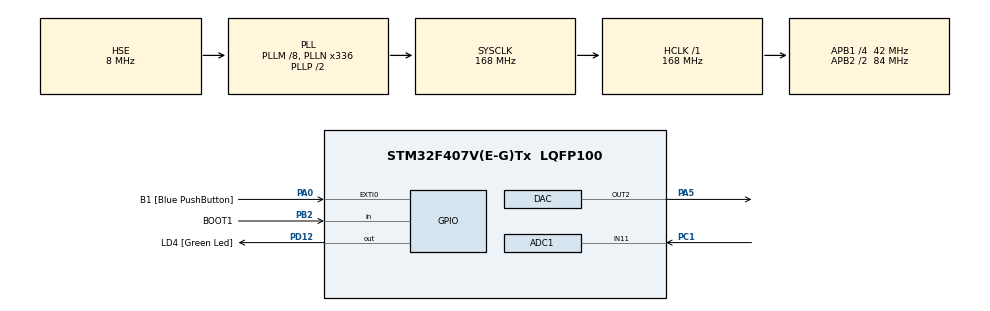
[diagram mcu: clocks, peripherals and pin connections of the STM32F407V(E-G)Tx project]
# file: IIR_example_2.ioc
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ADC1.Channel-0\#ChannelRegularConversion=ADC_CHANNEL_11
ADC1.DMAContinuousRequests=ENABLE
ADC1.ExternalTrigConv=ADC_EXTERNALTRIGCONV_T3_TRGO
ADC1.NbrOfConversionFlag=1
ADC1.Rank-0\#ChannelRegularConversion=1
ADC1.SamplingTime-0\#ChannelRegularConversion=ADC_SAMPLETIME_3CYCLES
ADC1.master=1
Dma.ADC1.0.Direction=DMA_PERIPH_TO_MEMORY
Dma.ADC1.0.FIFOMode=DMA_FIFOMODE_DISABLE
Dma.ADC1.0.Instance=DMA2_Stream0
Dma.ADC1.0.MemDataAlignment=DMA_MDATAALIGN_HALFWORD
Dma.ADC1.0.MemInc=DMA_MINC_ENABLE
Dma.ADC1.0.Mode=DMA_CIRCULAR
Dma.ADC1.0.PeriphDataAlignment=DMA_PDATAALIGN_HALFWORD
Dma.ADC1.0.PeriphInc=DMA_PINC_DISABLE
Dma.ADC1.0.Priority=DMA_PRIORITY_LOW
Dma.Request0=ADC1
Mcu.Family=STM32F4
Mcu.Name=STM32F407V(E-G)Tx
Mcu.Package=LQFP100
NVIC.DMA2_Stream0_IRQn=true\:0\:0\:false\:false\:true\:false\:true
NVIC.PriorityGroup=NVIC_PRIORITYGROUP_0
PA0-WKUP.GPIO_Label=B1 [Blue PushButton]
PA0-WKUP.GPIO_ModeDefaultEXTI=GPIO_MODE_EVT_RISING
PA0-WKUP.GPIO_PuPd=GPIO_NOPULL
PA0-WKUP.Signal=GPXTI0
PA13.GPIO_Label=SWDIO
PA13.Mode=Serial_Wire
PA13.Signal=SYS_JTMS-SWDIO
PA14.GPIO_Label=SWCLK
PA14.Mode=Serial_Wire
PA14.Signal=SYS_JTCK-SWCLK
PA5.Signal=COMP_DAC2_group
PB2.GPIO_Label=BOOT1
PB2.GPIO_Mode=GPIO_MODE_INPUT
PB2.GPIO_PuPd=GPIO_NOPULL
PB2.Signal=GPIO_Input
PC1.Signal=ADCx_IN11
PC14-OSC32_IN.GPIO_Label=PC14-OSC32_IN
PC14-OSC32_IN.Mode=LSE-External-Oscillator
PC14-OSC32_IN.Signal=RCC_OSC32_IN
PC15-OSC32_OUT.GPIO_Label=PC15-OSC32_OUT
PC15-OSC32_OUT.Mode=LSE-External-Oscillator
PC15-OSC32_OUT.Signal=RCC_OSC32_OUT
PD12.GPIO_Label=LD4 [Green Led]
PD12.GPIO_PuPd=GPIO_NOPULL
PD12.GPIO_Speed=GPIO_SPEED_FREQ_LOW
PD12.Signal=GPIO_Output
PH0-OSC_IN.GPIO_Label=PH0-OSC_IN
PH0-OSC_IN.Mode=HSE-External-Oscillator
PH0-OSC_IN.Signal=RCC_OSC_IN
PH1-OSC_OUT.GPIO_Label=PH1-OSC_OUT
PH1-OSC_OUT.Mode=HSE-External-Oscillator
PH1-OSC_OUT.Signal=RCC_OSC_OUT
ProjectManager.HeapSize=0x200
ProjectManager.StackSize=0x400
ProjectManager.TargetToolchain=STM32CubeIDE
RCC.48MHZClocksFreq_Value=48000000
RCC.AHBFreq_Value=168000000
RCC.APB1CLKDivider=RCC_HCLK_DIV4
RCC.APB1Freq_Value=42000000
RCC.APB1TimFreq_Value=84000000
RCC.APB2CLKDivider=RCC_HCLK_DIV2
RCC.APB2Freq_Value=84000000
RCC.APB2TimFreq_Value=168000000
RCC.CortexFreq_Value=168000000
RCC.HCLKFreq_Value=168000000
RCC.HSE_VALUE=8000000
RCC.HSI_VALUE=16000000
RCC.PLLM=8
RCC.PLLN=336
RCC.PLLQ=7
RCC.PLLSourceVirtual=RCC_PLLSOURCE_HSE
RCC.SYSCLKFreq_VALUE=168000000
RCC.SYSCLKSource=RCC_SYSCLKSOURCE_PLLCLK
RCC.VCOOutputFreq_Value=336000000
SH.ADCx_IN11.0=ADC1_IN11,IN11
SH.COMP_DAC2_group.0=DAC_OUT2,DAC_OUT2
TIM3.Channel-PWM\ Generation3\ No\ Output=TIM_CHANNEL_3
TIM3.Period=20
TIM3.Prescaler=4
TIM3.TIM_MasterOutputTrigger=TIM_TRGO_UPDATE
VP_TIM2_VS_ClockSourceINT.Mode=Internal
VP_TIM3_VS_ClockSourceINT.Mode=Internal
VP_TIM3_VS_no_output3.Mode=PWM Generation3 No Output
board=STM32F407G-DISC1

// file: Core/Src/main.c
/* USER CODE BEGIN Header */
/**
  ******************************************************************************
  * @file           : main.c
  * @brief          : Main program body
  ******************************************************************************
  * @attention
  *
  * <h2><center>&copy; Copyright (c) 2021 STMicroelectronics.
  * All rights reserved.</center></h2>
  *
  * This software component is licensed by ST under Ultimate Liberty license
  * SLA0044, the "License"; You may not use this file except in compliance with
  * the License. You may obtain a copy of the License at:
  *                             www.st.com/SLA0044
  *
  ******************************************************************************
  */
/* USER CODE END Header */
#include "main.h"
#include "stm32f407xx.h"
#include "arm_math.h"

/* USER CODE BEGIN PD */
#define ADC_BUFF_LEN	1024
#define  DMA_BUFF_LEN	16
#define DC_OFFSET		2048
#define DAC_RANGE		4096
#define NZEROS 4
#define NPOLES 4
#define GAIN   1.273742597e+002f
/* USER CODE END PD */

ADC_HandleTypeDef hadc1;
DMA_HandleTypeDef hdma_adc1;

DAC_HandleTypeDef hdac;

TIM_HandleTypeDef htim2;
TIM_HandleTypeDef htim3;

/* USER CODE BEGIN PV */
uint16_t dma_buff[DMA_BUFF_LEN];
uint16_t adc_data[ADC_BUFF_LEN];
uint16_t adc_data_counter = 0;
float32_t xv[NZEROS+1];
float32_t yv[NPOLES+1];
/* USER CODE END PV */

void SystemClock_Config(void);
static void MX_GPIO_Init(void);
static void MX_DMA_Init(void);
static void MX_ADC1_Init(void);
static void MX_DAC_Init(void);
static void MX_TIM2_Init(void);
static void MX_TIM3_Init(void);
//static void filterloop(void);

int main(void)
{

  /* MCU Configuration--------------------------------------------------------*/

  /* Reset of all peripherals, Initializes the Flash interface and the Systick. */
  HAL_Init();

  /* Configure the system clock */
  SystemClock_Config();

  /* Initialize all configured peripherals */
  MX_GPIO_Init();
  MX_DMA_Init();
  MX_ADC1_Init();
  MX_DAC_Init();
  MX_TIM2_Init();
  MX_TIM3_Init();
  /* USER CODE BEGIN 2 */

  HAL_ADC_Start_DMA(&hadc1, &dma_buff, 16);
  HAL_TIM_Base_Start(&htim3);
  HAL_DAC_Start(&hdac, DAC1_CHANNEL_2);

  /* USER CODE END 2 */

  /* Infinite loop */
  while (1)
  {

  }
}

void SystemClock_Config(void)
{
  RCC_OscInitTypeDef RCC_OscInitStruct = {0};
  RCC_ClkInitTypeDef RCC_ClkInitStruct = {0};

  /** Configure the main internal regulator output voltage
  */
  __HAL_RCC_PWR_CLK_ENABLE();
  __HAL_PWR_VOLTAGESCALING_CONFIG(PWR_REGULATOR_VOLTAGE_SCALE1);
  /** Initializes the RCC Oscillators according to the specified parameters
  * in the RCC_OscInitTypeDef structure.
  */
  RCC_OscInitStruct.OscillatorType = RCC_OSCILLATORTYPE_HSE;
  RCC_OscInitStruct.HSEState = RCC_HSE_ON;
  RCC_OscInitStruct.PLL.PLLState = RCC_PLL_ON;
  RCC_OscInitStruct.PLL.PLLSource = RCC_PLLSOURCE_HSE;
  RCC_OscInitStruct.PLL.PLLM = 8;
  RCC_OscInitStruct.PLL.PLLN = 336;
  RCC_OscInitStruct.PLL.PLLP = RCC_PLLP_DIV2;
  RCC_OscInitStruct.PLL.PLLQ = 7;
  if (HAL_RCC_OscConfig(&RCC_OscInitStruct) != HAL_OK)
  {
    Error_Handler();
  }
  /** Initializes the CPU, AHB and APB buses clocks
  */
  RCC_ClkInitStruct.ClockType = RCC_CLOCKTYPE_HCLK|RCC_CLOCKTYPE_SYSCLK
                              |RCC_CLOCKTYPE_PCLK1|RCC_CLOCKTYPE_PCLK2;
  RCC_ClkInitStruct.SYSCLKSource = RCC_SYSCLKSOURCE_PLLCLK;
  RCC_ClkInitStruct.AHBCLKDivider = RCC_SYSCLK_DIV1;
  RCC_ClkInitStruct.APB1CLKDivider = RCC_HCLK_DIV4;
  RCC_ClkInitStruct.APB2CLKDivider = RCC_HCLK_DIV2;

  if (HAL_RCC_ClockConfig(&RCC_ClkInitStruct, FLASH_LATENCY_5) != HAL_OK)
  {
    Error_Handler();
  }
}

static void MX_ADC1_Init(void)
{

  ADC_ChannelConfTypeDef sConfig = {0};

  /** Configure the global features of the ADC (Clock, Resolution, Data Alignment and number of conversion)
  */
  hadc1.Instance = ADC1;
  hadc1.Init.ClockPrescaler = ADC_CLOCK_SYNC_PCLK_DIV4;
  hadc1.Init.Resolution = ADC_RESOLUTION_12B;
  hadc1.Init.ScanConvMode = DISABLE;
  hadc1.Init.ContinuousConvMode = DISABLE;
  hadc1.Init.DiscontinuousConvMode = DISABLE;
  hadc1.Init.ExternalTrigConvEdge = ADC_EXTERNALTRIGCONVEDGE_RISING;
  hadc1.Init.ExternalTrigConv = ADC_EXTERNALTRIGCONV_T3_TRGO;
  hadc1.Init.DataAlign = ADC_DATAALIGN_RIGHT;
  hadc1.Init.NbrOfConversion = 1;
  hadc1.Init.DMAContinuousRequests = ENABLE;
  hadc1.Init.EOCSelection = ADC_EOC_SINGLE_CONV;
  if (HAL_ADC_Init(&hadc1) != HAL_OK)
  {
    Error_Handler();
  }
  /** Configure for the selected ADC regular channel its corresponding rank in the sequencer and its sample time.
  */
  sConfig.Channel = ADC_CHANNEL_11;
  sConfig.Rank = 1;
  sConfig.SamplingTime = ADC_SAMPLETIME_3CYCLES;
  if (HAL_ADC_ConfigChannel(&hadc1, &sConfig) != HAL_OK)
  {
    Error_Handler();
  }

}

static void MX_DAC_Init(void)
{

  DAC_ChannelConfTypeDef sConfig = {0};

  /** DAC Initialization
  */
  hdac.Instance = DAC;
  if (HAL_DAC_Init(&hdac) != HAL_OK)
  {
    Error_Handler();
  }
  /** DAC channel OUT2 config
  */
  sConfig.DAC_Trigger = DAC_TRIGGER_NONE;
  sConfig.DAC_OutputBuffer = DAC_OUTPUTBUFFER_ENABLE;
  if (HAL_DAC_ConfigChannel(&hdac, &sConfig, DAC_CHANNEL_2) != HAL_OK)
  {
    Error_Handler();
  }

}

static void MX_TIM2_Init(void)
{

  TIM_ClockConfigTypeDef sClockSourceConfig = {0};
  TIM_MasterConfigTypeDef sMasterConfig = {0};

  htim2.Instance = TIM2;
  htim2.Init.Prescaler = 0;
  htim2.Init.CounterMode = TIM_COUNTERMODE_UP;
  htim2.Init.Period = 4294967295;
  htim2.Init.ClockDivision = TIM_CLOCKDIVISION_DIV1;
  htim2.Init.AutoReloadPreload = TIM_AUTORELOAD_PRELOAD_DISABLE;
  if (HAL_TIM_Base_Init(&htim2) != HAL_OK)
  {
    Error_Handler();
  }
  sClockSourceConfig.ClockSource = TIM_CLOCKSOURCE_INTERNAL;
  if (HAL_TIM_ConfigClockSource(&htim2, &sClockSourceConfig) != HAL_OK)
  {
    Error_Handler();
  }
  sMasterConfig.MasterOutputTrigger = TIM_TRGO_RESET;
  sMasterConfig.MasterSlaveMode = TIM_MASTERSLAVEMODE_DISABLE;
  if (HAL_TIMEx_MasterConfigSynchronization(&htim2, &sMasterConfig) != HAL_OK)
  {
    Error_Handler();
  }

}

static void MX_TIM3_Init(void)
{

  TIM_ClockConfigTypeDef sClockSourceConfig = {0};
  TIM_MasterConfigTypeDef sMasterConfig = {0};
  TIM_OC_InitTypeDef sConfigOC = {0};

  htim3.Instance = TIM3;
  htim3.Init.Prescaler = 4;
  htim3.Init.CounterMode = TIM_COUNTERMODE_UP;
  htim3.Init.Period = 20;
  htim3.Init.ClockDivision = TIM_CLOCKDIVISION_DIV1;
  htim3.Init.AutoReloadPreload = TIM_AUTORELOAD_PRELOAD_DISABLE;
  if (HAL_TIM_Base_Init(&htim3) != HAL_OK)
  {
    Error_Handler();
  }
  sClockSourceConfig.ClockSource = TIM_CLOCKSOURCE_INTERNAL;
  if (HAL_TIM_ConfigClockSource(&htim3, &sClockSourceConfig) != HAL_OK)
  {
    Error_Handler();
  }
  if (HAL_TIM_PWM_Init(&htim3) != HAL_OK)
  {
    Error_Handler();
  }
  sMasterConfig.MasterOutputTrigger = TIM_TRGO_UPDATE;
  sMasterConfig.MasterSlaveMode = TIM_MASTERSLAVEMODE_DISABLE;
  if (HAL_TIMEx_MasterConfigSynchronization(&htim3, &sMasterConfig) != HAL_OK)
  {
    Error_Handler();
  }
  sConfigOC.OCMode = TIM_OCMODE_PWM1;
  sConfigOC.Pulse = 0;
  sConfigOC.OCPolarity = TIM_OCPOLARITY_HIGH;
  sConfigOC.OCFastMode = TIM_OCFAST_DISABLE;
  if (HAL_TIM_PWM_ConfigChannel(&htim3, &sConfigOC, TIM_CHANNEL_3) != HAL_OK)
  {
    Error_Handler();
  }

}

static void MX_DMA_Init(void)
{

  /* DMA controller clock enable */
  __HAL_RCC_DMA2_CLK_ENABLE();

  /* DMA interrupt init */
  /* DMA2_Stream0_IRQn interrupt configuration */
  HAL_NVIC_SetPriority(DMA2_Stream0_IRQn, 0, 0);
  HAL_NVIC_EnableIRQ(DMA2_Stream0_IRQn);

}

static void MX_GPIO_Init(void)
{
  GPIO_InitTypeDef GPIO_InitStruct = {0};

  /* GPIO Ports Clock Enable */
  __HAL_RCC_GPIOC_CLK_ENABLE();
  __HAL_RCC_GPIOH_CLK_ENABLE();
  __HAL_RCC_GPIOA_CLK_ENABLE();
  __HAL_RCC_GPIOB_CLK_ENABLE();
  __HAL_RCC_GPIOD_CLK_ENABLE();

  /*Configure GPIO pin Output Level */
  HAL_GPIO_WritePin(LD4_GPIO_Port, LD4_Pin, GPIO_PIN_RESET);

  /*Configure GPIO pin : B1_Pin */
  GPIO_InitStruct.Pin = B1_Pin;
  GPIO_InitStruct.Mode = GPIO_MODE_EVT_RISING;
  GPIO_InitStruct.Pull = GPIO_NOPULL;
  HAL_GPIO_Init(B1_GPIO_Port, &GPIO_InitStruct);

  /*Configure GPIO pin : BOOT1_Pin */
  GPIO_InitStruct.Pin = BOOT1_Pin;
  GPIO_InitStruct.Mode = GPIO_MODE_INPUT;
  GPIO_InitStruct.Pull = GPIO_NOPULL;
  HAL_GPIO_Init(BOOT1_GPIO_Port, &GPIO_InitStruct);

  /*Configure GPIO pin : LD4_Pin */
  GPIO_InitStruct.Pin = LD4_Pin;
  GPIO_InitStruct.Mode = GPIO_MODE_OUTPUT_PP;
  GPIO_InitStruct.Pull = GPIO_NOPULL;
  GPIO_InitStruct.Speed = GPIO_SPEED_FREQ_LOW;
  HAL_GPIO_Init(LD4_GPIO_Port, &GPIO_InitStruct);

}

/* USER CODE BEGIN 4 */
//void filterloop()
//  { for (;;)
//      { xv[0] = xv[1]; xv[1] = xv[2]; xv[2] = xv[3];
////        xv[3] = `next input value' / GAIN;
////        yv[0] = yv[1]; yv[1] = yv[2]; yv[2] = yv[3];
////        yv[3] =   (xv[0] + xv[3]) + 3 * (xv[1] + xv[2])
////                     + (  0.7776385602 * yv[0]) + ( -2.5282312191 * yv[1])
////                     + (  2.7488358092 * yv[2]);
////        `next output value' = yv[3];
//      }
//  }

void HAL_ADC_ConvCpltCallback(ADC_HandleTypeDef *hadc){
//	if(adc_data_counter < ADC_BUFF_LEN){
	uint16_t ovs = 0;
	uint16_t filtered_out = 0;
	float32_t x_new = 0.0f;
	for(uint8_t i = 0; i < DMA_BUFF_LEN; i++){
		ovs += dma_buff[i];
	}
	ovs = (ovs >> 4);
	x_new = ((int16_t)ovs - DC_OFFSET) / (float32_t)DAC_RANGE;

	xv[0] = xv[1]; xv[1] = xv[2]; xv[2] = xv[3]; xv[3] = xv[4];
	xv[4] = x_new / GAIN;
	yv[0] = yv[1]; yv[1] = yv[2]; yv[2] = yv[3]; yv[3] = yv[4];
	yv[4] =  (xv[0] + xv[4]) - 2 * xv[2]
				+ ( -0.7660066009 * yv[0]) + (  3.2409032364 * yv[1])
				+ ( -5.1803044554 * yv[2]) + (  3.7051888565 * yv[3]);
	filtered_out = (uint16_t)(yv[4] * DAC_RANGE + DC_OFFSET);

	HAL_DAC_SetValue(&hdac, DAC1_CHANNEL_2, DAC_ALIGN_12B_R, filtered_out);

}
/* USER CODE END 4 */

void Error_Handler(void)
{
  __disable_irq();
  while (1)
  {
  }
}

/************************ (C) COPYRIGHT STMicroelectronics *****END OF FILE****/
